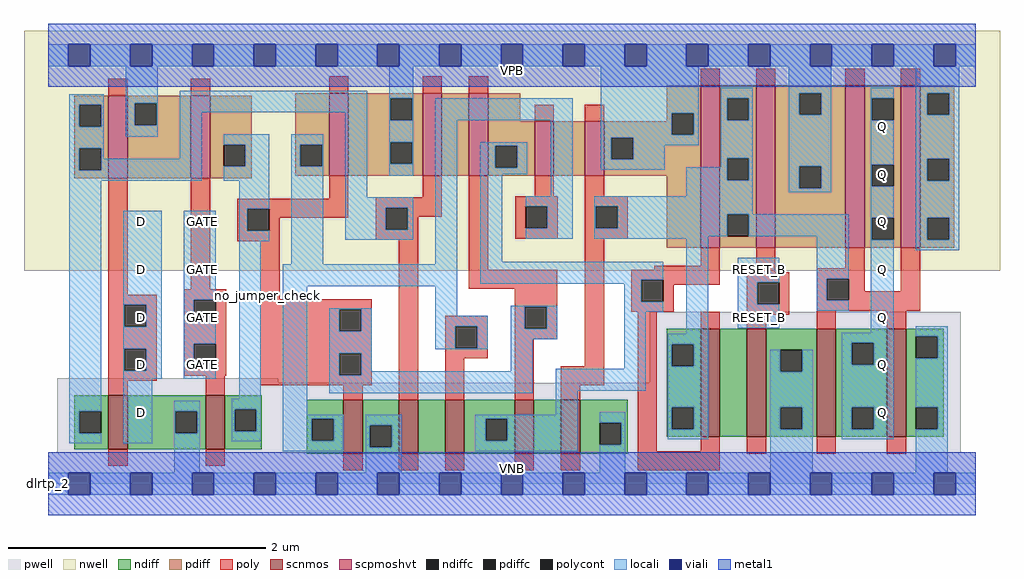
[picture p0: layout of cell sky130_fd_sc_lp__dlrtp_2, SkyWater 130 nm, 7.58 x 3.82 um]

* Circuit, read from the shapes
.subckt sky130_fd_sc_lp__dlrtp_2 D GATE RESET_B VGND VNB VPB VPWR Q
XM1 VGND D n1 VNB sky130_fd_pr__nfet_01v8 w=0.42 l=0.15
XM2 n2 GATE VGND VNB sky130_fd_pr__nfet_01v8 w=0.42 l=0.15
XM3 VGND n2 n3 VNB sky130_fd_pr__nfet_01v8 w=0.42 l=0.15
XM4 n4 n1 VGND VNB sky130_fd_pr__nfet_01v8 w=0.42 l=0.15
XM5 n5 n3 n4 VNB sky130_fd_pr__nfet_01v8 w=0.42 l=0.15
XM6 n6 n2 n5 VNB sky130_fd_pr__nfet_01v8 w=0.42 l=0.15
XM7 VGND n7 n6 VNB sky130_fd_pr__nfet_01v8 w=0.42 l=0.15
XM8 n8 n5 n7 VNB sky130_fd_pr__nfet_01v8 w=0.84 l=0.15
XM9 VGND RESET_B n8 VNB sky130_fd_pr__nfet_01v8 w=0.84 l=0.15
XM10 Q n7 VGND VNB sky130_fd_pr__nfet_01v8 w=0.84 l=0.15 m=2
XM11 VPWR D n1 VPB sky130_fd_pr__pfet_01v8_hvt w=0.64 l=0.15
XM12 n2 GATE VPWR VPB sky130_fd_pr__pfet_01v8_hvt w=0.64 l=0.15
XM13 VPWR n2 n3 VPB sky130_fd_pr__pfet_01v8_hvt w=0.64 l=0.15
XM14 n9 n1 VPWR VPB sky130_fd_pr__pfet_01v8_hvt w=0.64 l=0.15
XM15 n5 n2 n9 VPB sky130_fd_pr__pfet_01v8_hvt w=0.64 l=0.15
XM16 n10 n3 n5 VPB sky130_fd_pr__pfet_01v8_hvt w=0.42 l=0.15
XM17 VPWR n7 n10 VPB sky130_fd_pr__pfet_01v8_hvt w=0.42 l=0.15
XM18 n7 n5 VPWR VPB sky130_fd_pr__pfet_01v8_hvt w=1.26 l=0.15
XM19 VPWR RESET_B n7 VPB sky130_fd_pr__pfet_01v8_hvt w=1.26 l=0.15
XM20 Q n7 VPWR VPB sky130_fd_pr__pfet_01v8_hvt w=1.26 l=0.15 m=2
.ends

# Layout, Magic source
magic
tech sky130A
magscale 1 2
<< nwell >>
rect -38 331 1478 704
<< pwell >>
rect 14 157 357 164
rect 934 157 1417 267
rect 14 49 1417 157
rect 0 0 1440 49
<< scnmos >>
rect 93 54 123 138
rect 244 54 274 138
rect 458 47 488 131
rect 544 47 574 131
rect 616 47 646 131
rect 724 47 754 131
rect 796 47 826 131
rect 1013 73 1043 241
rect 1085 73 1115 241
rect 1193 73 1223 241
rect 1302 73 1332 241
<< scpmoshvt >>
rect 93 475 123 603
rect 221 475 251 603
rect 436 479 466 607
rect 581 479 611 607
rect 653 479 683 607
rect 755 479 785 563
rect 833 479 863 563
rect 1013 367 1043 619
rect 1099 367 1129 619
rect 1238 367 1268 619
rect 1324 367 1354 619
<< ndiff >>
rect 40 113 93 138
rect 40 79 48 113
rect 82 79 93 113
rect 40 54 93 79
rect 123 113 244 138
rect 123 79 197 113
rect 231 79 244 113
rect 123 54 244 79
rect 274 116 331 138
rect 274 82 289 116
rect 323 82 331 116
rect 274 54 331 82
rect 401 101 458 131
rect 401 67 409 101
rect 443 67 458 101
rect 401 47 458 67
rect 488 91 544 131
rect 488 57 499 91
rect 533 57 544 91
rect 488 47 544 57
rect 574 47 616 131
rect 646 101 724 131
rect 646 67 679 101
rect 713 67 724 101
rect 646 47 724 67
rect 754 47 796 131
rect 826 95 900 131
rect 826 61 856 95
rect 890 61 900 95
rect 826 47 900 61
rect 960 217 1013 241
rect 960 183 968 217
rect 1002 183 1013 217
rect 960 119 1013 183
rect 960 85 968 119
rect 1002 85 1013 119
rect 960 73 1013 85
rect 1043 73 1085 241
rect 1115 208 1193 241
rect 1115 174 1137 208
rect 1171 174 1193 208
rect 1115 119 1193 174
rect 1115 85 1137 119
rect 1171 85 1193 119
rect 1115 73 1193 85
rect 1223 219 1302 241
rect 1223 185 1248 219
rect 1282 185 1302 219
rect 1223 119 1302 185
rect 1223 85 1248 119
rect 1282 85 1302 119
rect 1223 73 1302 85
rect 1332 229 1391 241
rect 1332 195 1347 229
rect 1381 195 1391 229
rect 1332 119 1391 195
rect 1332 85 1347 119
rect 1381 85 1391 119
rect 1332 73 1391 85
<< pdiff >>
rect 40 589 93 603
rect 40 555 48 589
rect 82 555 93 589
rect 40 521 93 555
rect 40 487 48 521
rect 82 487 93 521
rect 40 475 93 487
rect 123 591 221 603
rect 123 557 134 591
rect 168 557 221 591
rect 123 475 221 557
rect 251 527 316 603
rect 251 493 272 527
rect 306 493 316 527
rect 251 475 316 493
rect 383 527 436 607
rect 383 493 391 527
rect 425 493 436 527
rect 383 479 436 493
rect 466 599 581 607
rect 466 565 531 599
rect 565 565 581 599
rect 466 531 581 565
rect 466 497 531 531
rect 565 497 581 531
rect 466 479 581 497
rect 611 479 653 607
rect 683 563 733 607
rect 960 576 1013 619
rect 960 563 968 576
rect 683 525 755 563
rect 683 491 694 525
rect 728 491 755 525
rect 683 479 755 491
rect 785 479 833 563
rect 863 542 968 563
rect 1002 542 1013 576
rect 863 538 1013 542
rect 863 504 874 538
rect 908 504 1013 538
rect 863 479 1013 504
rect 960 367 1013 479
rect 1043 599 1099 619
rect 1043 565 1054 599
rect 1088 565 1099 599
rect 1043 506 1099 565
rect 1043 472 1054 506
rect 1088 472 1099 506
rect 1043 419 1099 472
rect 1043 385 1054 419
rect 1088 385 1099 419
rect 1043 367 1099 385
rect 1129 607 1238 619
rect 1129 573 1166 607
rect 1200 573 1238 607
rect 1129 493 1238 573
rect 1129 459 1166 493
rect 1200 459 1238 493
rect 1129 367 1238 459
rect 1268 599 1324 619
rect 1268 565 1279 599
rect 1313 565 1324 599
rect 1268 496 1324 565
rect 1268 462 1279 496
rect 1313 462 1324 496
rect 1268 413 1324 462
rect 1268 379 1279 413
rect 1313 379 1324 413
rect 1268 367 1324 379
rect 1354 607 1407 619
rect 1354 573 1365 607
rect 1399 573 1407 607
rect 1354 505 1407 573
rect 1354 471 1365 505
rect 1399 471 1407 505
rect 1354 413 1407 471
rect 1354 379 1365 413
rect 1399 379 1407 413
rect 1354 367 1407 379
<< ndiffc >>
rect 48 79 82 113
rect 197 79 231 113
rect 289 82 323 116
rect 409 67 443 101
rect 499 57 533 91
rect 679 67 713 101
rect 856 61 890 95
rect 968 183 1002 217
rect 968 85 1002 119
rect 1137 174 1171 208
rect 1137 85 1171 119
rect 1248 185 1282 219
rect 1248 85 1282 119
rect 1347 195 1381 229
rect 1347 85 1381 119
<< pdiffc >>
rect 48 555 82 589
rect 48 487 82 521
rect 134 557 168 591
rect 272 493 306 527
rect 391 493 425 527
rect 531 565 565 599
rect 531 497 565 531
rect 694 491 728 525
rect 968 542 1002 576
rect 874 504 908 538
rect 1054 565 1088 599
rect 1054 472 1088 506
rect 1054 385 1088 419
rect 1166 573 1200 607
rect 1166 459 1200 493
rect 1279 565 1313 599
rect 1279 462 1313 496
rect 1279 379 1313 413
rect 1365 573 1399 607
rect 1365 471 1399 505
rect 1365 379 1399 413
<< poly >>
rect 93 603 123 629
rect 221 603 251 629
rect 436 607 466 633
rect 581 607 611 633
rect 653 607 683 633
rect 1013 619 1043 645
rect 1099 619 1129 645
rect 1238 619 1268 645
rect 1324 619 1354 645
rect 755 563 785 589
rect 833 563 863 589
rect 93 294 123 475
rect 221 302 251 475
rect 436 443 466 479
rect 581 445 611 479
rect 293 427 466 443
rect 293 393 309 427
rect 343 413 466 427
rect 508 429 611 445
rect 343 393 359 413
rect 293 377 359 393
rect 508 395 524 429
rect 558 415 611 429
rect 558 395 574 415
rect 508 379 574 395
rect 93 278 168 294
rect 93 244 118 278
rect 152 244 168 278
rect 93 210 168 244
rect 93 176 118 210
rect 152 176 168 210
rect 93 160 168 176
rect 210 286 276 302
rect 210 252 226 286
rect 260 252 276 286
rect 210 218 276 252
rect 210 184 226 218
rect 260 184 276 218
rect 210 168 276 184
rect 329 287 359 377
rect 329 271 502 287
rect 329 237 452 271
rect 486 237 502 271
rect 329 203 502 237
rect 329 169 452 203
rect 486 169 502 203
rect 93 138 123 160
rect 244 138 274 168
rect 329 153 502 169
rect 458 131 488 153
rect 544 131 574 379
rect 653 333 683 479
rect 755 447 785 479
rect 833 447 863 479
rect 725 431 791 447
rect 725 397 741 431
rect 775 397 791 431
rect 725 381 791 397
rect 833 431 900 447
rect 833 397 850 431
rect 884 397 900 431
rect 833 381 900 397
rect 653 303 790 333
rect 724 275 790 303
rect 616 245 682 261
rect 616 211 632 245
rect 666 211 682 245
rect 616 195 682 211
rect 724 241 740 275
rect 774 241 790 275
rect 724 225 790 241
rect 616 131 646 195
rect 724 131 754 225
rect 833 183 863 381
rect 1013 339 1043 367
rect 941 333 1043 339
rect 905 317 1043 333
rect 1099 329 1129 367
rect 1238 335 1268 367
rect 905 283 921 317
rect 955 309 1043 317
rect 1085 313 1151 329
rect 955 283 971 309
rect 905 267 971 283
rect 1085 279 1101 313
rect 1135 279 1151 313
rect 796 153 863 183
rect 796 131 826 153
rect 93 28 123 54
rect 244 28 274 54
rect 915 51 945 267
rect 1013 241 1043 267
rect 1085 263 1151 279
rect 1193 319 1268 335
rect 1193 285 1209 319
rect 1243 299 1268 319
rect 1324 299 1354 367
rect 1243 285 1354 299
rect 1193 269 1354 285
rect 1085 241 1115 263
rect 1193 241 1223 269
rect 1302 241 1332 269
rect 1013 51 1043 73
rect 458 21 488 47
rect 544 21 574 47
rect 616 21 646 47
rect 724 21 754 47
rect 796 21 826 47
rect 915 21 1043 51
rect 1085 47 1115 73
rect 1193 47 1223 73
rect 1302 47 1332 73
<< polycont >>
rect 309 393 343 427
rect 524 395 558 429
rect 118 244 152 278
rect 118 176 152 210
rect 226 252 260 286
rect 226 184 260 218
rect 452 237 486 271
rect 452 169 486 203
rect 741 397 775 431
rect 850 397 884 431
rect 632 211 666 245
rect 740 241 774 275
rect 921 283 955 317
rect 1101 279 1135 313
rect 1209 285 1243 319
<< locali >>
rect 0 649 31 683
rect 65 649 127 683
rect 161 649 223 683
rect 257 649 319 683
rect 353 649 415 683
rect 449 649 511 683
rect 545 649 607 683
rect 641 649 703 683
rect 737 649 799 683
rect 833 649 895 683
rect 929 649 991 683
rect 1025 649 1087 683
rect 1121 649 1183 683
rect 1217 649 1279 683
rect 1313 649 1375 683
rect 1409 649 1440 683
rect 32 589 86 605
rect 32 555 48 589
rect 82 555 86 589
rect 32 521 86 555
rect 120 591 170 649
rect 120 557 134 591
rect 168 557 170 591
rect 120 539 170 557
rect 204 577 495 611
rect 32 487 48 521
rect 82 505 86 521
rect 204 505 238 577
rect 82 487 238 505
rect 32 471 238 487
rect 272 527 343 543
rect 306 493 343 527
rect 272 471 343 493
rect 32 113 82 471
rect 296 427 343 471
rect 32 79 48 113
rect 32 63 82 79
rect 116 278 176 424
rect 116 244 118 278
rect 152 244 176 278
rect 116 210 176 244
rect 116 176 118 210
rect 152 176 176 210
rect 116 163 176 176
rect 210 286 260 424
rect 210 252 226 286
rect 210 218 260 252
rect 210 184 226 218
rect 210 163 260 184
rect 296 393 309 427
rect 296 377 343 393
rect 377 527 427 543
rect 377 493 391 527
rect 425 493 427 527
rect 116 63 161 163
rect 296 132 330 377
rect 377 341 427 493
rect 461 445 495 577
rect 529 599 567 649
rect 529 565 531 599
rect 565 565 567 599
rect 529 531 567 565
rect 529 497 531 531
rect 565 497 567 531
rect 529 479 567 497
rect 601 565 814 599
rect 461 429 567 445
rect 461 395 524 429
rect 558 395 567 429
rect 461 379 567 395
rect 601 341 635 565
rect 195 113 235 129
rect 195 79 197 113
rect 231 79 235 113
rect 195 17 235 79
rect 285 116 330 132
rect 285 82 289 116
rect 323 82 330 116
rect 285 66 330 82
rect 364 307 635 341
rect 671 525 744 531
rect 671 491 694 525
rect 728 491 744 525
rect 671 481 744 491
rect 671 345 705 481
rect 780 447 814 565
rect 858 576 1010 649
rect 858 542 968 576
rect 1002 542 1010 576
rect 858 538 1010 542
rect 858 504 874 538
rect 908 526 1010 538
rect 1044 599 1094 615
rect 1044 565 1054 599
rect 1088 565 1094 599
rect 908 504 957 526
rect 858 488 957 504
rect 1044 506 1094 565
rect 1044 492 1054 506
rect 991 472 1054 492
rect 1088 472 1094 506
rect 991 447 1094 472
rect 1150 607 1216 649
rect 1150 573 1166 607
rect 1200 573 1216 607
rect 1150 493 1216 573
rect 1150 459 1166 493
rect 1200 459 1216 493
rect 1150 453 1216 459
rect 1277 599 1313 615
rect 1277 565 1279 599
rect 1277 496 1313 565
rect 1277 462 1279 496
rect 741 431 814 447
rect 775 397 814 431
rect 741 381 814 397
rect 848 431 1094 447
rect 848 397 850 431
rect 884 419 1094 431
rect 884 397 1054 419
rect 848 385 1054 397
rect 1088 385 1243 419
rect 848 381 1025 385
rect 671 317 955 345
rect 671 311 921 317
rect 364 107 402 307
rect 436 271 502 273
rect 436 237 452 271
rect 486 237 502 271
rect 436 203 502 237
rect 601 261 635 307
rect 894 283 921 311
rect 718 275 790 277
rect 601 245 682 261
rect 601 211 632 245
rect 666 211 682 245
rect 601 209 682 211
rect 718 241 740 275
rect 774 241 790 275
rect 718 225 790 241
rect 894 267 955 283
rect 436 169 452 203
rect 486 175 502 203
rect 718 175 752 225
rect 894 179 928 267
rect 991 233 1025 381
rect 1071 313 1135 351
rect 1071 279 1101 313
rect 1071 242 1135 279
rect 1193 319 1243 385
rect 1193 285 1209 319
rect 1193 269 1243 285
rect 1277 413 1313 462
rect 1277 379 1279 413
rect 1277 235 1313 379
rect 1347 607 1415 649
rect 1347 573 1365 607
rect 1399 573 1415 607
rect 1347 505 1415 573
rect 1347 471 1365 505
rect 1399 471 1415 505
rect 1347 413 1415 471
rect 1347 379 1365 413
rect 1399 379 1415 413
rect 1347 363 1415 379
rect 486 169 752 175
rect 436 141 752 169
rect 788 145 928 179
rect 962 217 1025 233
rect 962 183 968 217
rect 1002 183 1025 217
rect 1232 219 1313 235
rect 788 107 822 145
rect 962 119 1025 183
rect 364 101 459 107
rect 364 67 409 101
rect 443 67 459 101
rect 364 51 459 67
rect 493 91 549 107
rect 493 57 499 91
rect 533 57 549 91
rect 493 17 549 57
rect 663 101 822 107
rect 663 67 679 101
rect 713 67 822 101
rect 663 51 822 67
rect 856 95 896 111
rect 890 61 896 95
rect 962 85 968 119
rect 1002 85 1025 119
rect 962 69 1025 85
rect 1121 174 1137 208
rect 1171 174 1187 208
rect 1121 119 1187 174
rect 1121 85 1137 119
rect 1171 85 1187 119
rect 856 17 896 61
rect 1121 17 1187 85
rect 1232 185 1248 219
rect 1282 185 1313 219
rect 1232 119 1313 185
rect 1232 85 1248 119
rect 1282 85 1313 119
rect 1232 69 1313 85
rect 1347 229 1397 245
rect 1381 195 1397 229
rect 1347 119 1397 195
rect 1381 85 1397 119
rect 1347 17 1397 85
rect 0 -17 31 17
rect 65 -17 127 17
rect 161 -17 223 17
rect 257 -17 319 17
rect 353 -17 415 17
rect 449 -17 511 17
rect 545 -17 607 17
rect 641 -17 703 17
rect 737 -17 799 17
rect 833 -17 895 17
rect 929 -17 991 17
rect 1025 -17 1087 17
rect 1121 -17 1183 17
rect 1217 -17 1279 17
rect 1313 -17 1375 17
rect 1409 -17 1440 17
<< viali >>
rect 31 649 65 683
rect 127 649 161 683
rect 223 649 257 683
rect 319 649 353 683
rect 415 649 449 683
rect 511 649 545 683
rect 607 649 641 683
rect 703 649 737 683
rect 799 649 833 683
rect 895 649 929 683
rect 991 649 1025 683
rect 1087 649 1121 683
rect 1183 649 1217 683
rect 1279 649 1313 683
rect 1375 649 1409 683
rect 31 -17 65 17
rect 127 -17 161 17
rect 223 -17 257 17
rect 319 -17 353 17
rect 415 -17 449 17
rect 511 -17 545 17
rect 607 -17 641 17
rect 703 -17 737 17
rect 799 -17 833 17
rect 895 -17 929 17
rect 991 -17 1025 17
rect 1087 -17 1121 17
rect 1183 -17 1217 17
rect 1279 -17 1313 17
rect 1375 -17 1409 17
<< metal1 >>
rect 0 683 1440 715
rect 0 649 31 683
rect 65 649 127 683
rect 161 649 223 683
rect 257 649 319 683
rect 353 649 415 683
rect 449 649 511 683
rect 545 649 607 683
rect 641 649 703 683
rect 737 649 799 683
rect 833 649 895 683
rect 929 649 991 683
rect 1025 649 1087 683
rect 1121 649 1183 683
rect 1217 649 1279 683
rect 1313 649 1375 683
rect 1409 649 1440 683
rect 0 617 1440 649
rect 0 17 1440 49
rect 0 -17 31 17
rect 65 -17 127 17
rect 161 -17 223 17
rect 257 -17 319 17
rect 353 -17 415 17
rect 449 -17 511 17
rect 545 -17 607 17
rect 641 -17 703 17
rect 737 -17 799 17
rect 833 -17 895 17
rect 929 -17 991 17
rect 1025 -17 1087 17
rect 1121 -17 1183 17
rect 1217 -17 1279 17
rect 1313 -17 1375 17
rect 1409 -17 1440 17
rect 0 -49 1440 -17
<< labels >>
flabel pwell s 0 0 1440 49 0 FreeSans 200 0 0 0 VNB
port 5 nsew ground bidirectional
flabel nwell s 0 617 1440 666 0 FreeSans 200 0 0 0 VPB
port 6 nsew power bidirectional
rlabel comment s 0 0 0 0 4 dlrtp_2
flabel comment s 340 292 340 292 0 FreeSans 200 90 0 0 no_jumper_check
flabel metal1 s 0 617 1440 666 0 FreeSans 340 0 0 0 VPWR
port 7 nsew power bidirectional
flabel metal1 s 0 0 1440 49 0 FreeSans 340 0 0 0 VGND
port 4 nsew ground bidirectional
flabel locali s 127 94 161 128 0 FreeSans 340 0 0 0 D
port 1 nsew signal input
flabel locali s 127 168 161 202 0 FreeSans 340 0 0 0 D
port 1 nsew signal input
flabel locali s 127 242 161 276 0 FreeSans 340 0 0 0 D
port 1 nsew signal input
flabel locali s 127 316 161 350 0 FreeSans 340 0 0 0 D
port 1 nsew signal input
flabel locali s 127 390 161 424 0 FreeSans 340 0 0 0 D
port 1 nsew signal input
flabel locali s 223 168 257 202 0 FreeSans 340 0 0 0 GATE
port 2 nsew clock input
flabel locali s 223 242 257 276 0 FreeSans 340 0 0 0 GATE
port 2 nsew clock input
flabel locali s 223 316 257 350 0 FreeSans 340 0 0 0 GATE
port 2 nsew clock input
flabel locali s 223 390 257 424 0 FreeSans 340 0 0 0 GATE
port 2 nsew clock input
flabel locali s 1279 94 1313 128 0 FreeSans 340 0 0 0 Q
port 8 nsew signal output
flabel locali s 1279 168 1313 202 0 FreeSans 340 0 0 0 Q
port 8 nsew signal output
flabel locali s 1279 242 1313 276 0 FreeSans 340 0 0 0 Q
port 8 nsew signal output
flabel locali s 1279 316 1313 350 0 FreeSans 340 0 0 0 Q
port 8 nsew signal output
flabel locali s 1279 390 1313 424 0 FreeSans 340 0 0 0 Q
port 8 nsew signal output
flabel locali s 1279 464 1313 498 0 FreeSans 340 0 0 0 Q
port 8 nsew signal output
flabel locali s 1279 538 1313 572 0 FreeSans 340 0 0 0 Q
port 8 nsew signal output
flabel locali s 1087 242 1121 276 0 FreeSans 340 0 0 0 RESET_B
port 3 nsew signal input
flabel locali s 1087 316 1121 350 0 FreeSans 340 0 0 0 RESET_B
port 3 nsew signal input
<< properties >>
string LEFsite unit
string LEFclass CORE
string FIXED_BBOX 0 0 1440 666
string GDS_FILE $PDKPATH/libs.ref/sky130_fd_sc_lp/gds/sky130_fd_sc_lp.gds
string LEFsymmetry X Y R90
string GDS_END 1935352
string GDS_START 1922738
<< end >>
